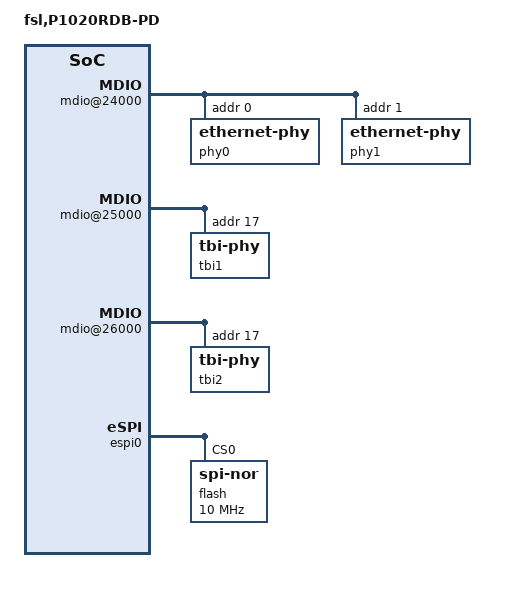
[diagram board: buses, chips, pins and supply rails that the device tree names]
// SPDX-License-Identifier: GPL-2.0+ OR X11
/*
 * P1020RDB-PD Device Tree Source
 *
 * Copyright 2013 - 2015 Freescale Semiconductor Inc.
 * Copyright 2019 NXP
 */

/include/ "p1020.dtsi"

/ {
	model = "fsl,P1020RDB-PD";
	compatible = "fsl,P1020RDB-PD";
	#address-cells = <2>;
	#size-cells = <2>;
	interrupt-parent = <&mpic>;

	soc: soc@ffe00000 {
		ranges = <0x0 0x0 0xffe00000 0x100000>;

		mdio@24000 {
			phy0: ethernet-phy@0 {
				interrupts = <3 1 0 0>;
				reg = <0x0>;
			};

			phy1: ethernet-phy@1 {
				interrupts = <2 1 0 0>;
				reg = <0x1>;
			};
		};

		mdio@25000 {
			tbi1: tbi-phy@11 {
				reg = <0x11>;
				device_type = "tbi-phy";
			};
		};

		mdio@26000 {
			tbi2: tbi-phy@11 {
				reg = <0x11>;
				device_type = "tbi-phy";
			};
		};

		enet0: ethernet@b0000 {
			phy-connection-type = "rgmii-id";
			fixed-link {
				speed = <1000>;
				full-duplex;
			};
		};

		enet1: ethernet@b1000 {
			phy-handle = <&phy0>;
			tbi-handle = <&tbi1>;
			phy-connection-type = "sgmii";
		};

		enet2: ethernet@b2000 {
			phy-handle = <&phy1>;
			phy-connection-type = "rgmii-id";
		};
	};

	pci1: pcie@ffe09000 {
		reg = <0x0 0xffe09000 0x0 0x1000>;	/* registers */
		ranges = <0x01000000 0x0 0x00000000 0x0 0xffc10000 0x0 0x00010000   /* downstream I/O */
			  0x02000000 0x0 0xa0000000 0x0 0xa0000000 0x0 0x20000000>; /* non-prefetchable memory */
	};

	pci0: pcie@ffe0a000 {
		reg = <0x0 0xffe0a000 0x0 0x1000>;	/* registers */
		ranges = <0x01000000 0x0 0x00000000 0x0 0xffc00000 0x0 0x00010000   /* downstream I/O */
			  0x02000000 0x0 0x80000000 0x0 0x80000000 0x0 0x20000000>; /* non-prefetchable memory */
	};

	aliases {
		spi0 = &espi0;
	};
};

/include/ "p1020-post.dtsi"

&espi0 {
	status = "okay";
	flash@0 {
		compatible = "jedec,spi-nor";
		#address-cells = <1>;
		#size-cells = <1>;
		reg = <0>;
		spi-max-frequency = <10000000>; /* input clock */
	};
};
